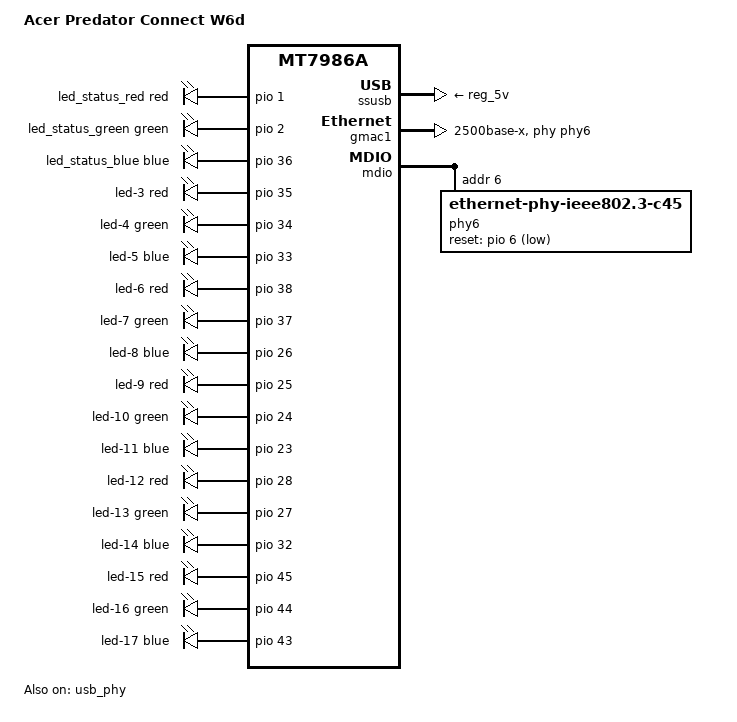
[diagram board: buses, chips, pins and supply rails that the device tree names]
// SPDX-License-Identifier: GPL-2.0-or-later OR MIT

/dts-v1/;
#include "mt7986a-acer-w6-common.dtsi"

/ {
	model = "Acer Predator Connect W6d";
	compatible = "acer,predator-w6d", "mediatek,mt7986a";

	aliases {
		serial0 = &uart0;
		led-boot = &led_status_blue;
		led-failsafe = &led_status_blue;
		led-running = &led_status_green;
		led-upgrade = &led_status_red;
	};

	leds {
		compatible = "gpio-leds";

		led_status_red: led-0 {
			color = <LED_COLOR_ID_RED>;
			function = LED_FUNCTION_STATUS;
			function-enumerator = <0>;
			gpios = <&pio 1 GPIO_ACTIVE_HIGH>;
		};

		led_status_green: led-1 {
			color = <LED_COLOR_ID_GREEN>;
			function = LED_FUNCTION_STATUS;
			function-enumerator = <0>;
			gpios = <&pio 2 GPIO_ACTIVE_HIGH>;
		};

		led_status_blue: led-2 {
			color = <LED_COLOR_ID_BLUE>;
			function = LED_FUNCTION_STATUS;
			function-enumerator = <0>;
			gpios = <&pio 36 GPIO_ACTIVE_HIGH>;
		};

		led-3 {
			color = <LED_COLOR_ID_RED>;
			function = LED_FUNCTION_STATUS;
			function-enumerator = <1>;
			gpios = <&pio 35 GPIO_ACTIVE_HIGH>;
		};

		led-4 {
			color = <LED_COLOR_ID_GREEN>;
			function = LED_FUNCTION_STATUS;
			function-enumerator = <1>;
			gpios = <&pio 34 GPIO_ACTIVE_HIGH>;
		};

		led-5 {
			color = <LED_COLOR_ID_BLUE>;
			function = LED_FUNCTION_STATUS;
			function-enumerator = <1>;
			gpios = <&pio 33 GPIO_ACTIVE_HIGH>;
		};

		led-6 {
			color = <LED_COLOR_ID_RED>;
			function = LED_FUNCTION_STATUS;
			function-enumerator = <2>;
			gpios = <&pio 38 GPIO_ACTIVE_HIGH>;
		};

		led-7 {
			color = <LED_COLOR_ID_GREEN>;
			function = LED_FUNCTION_STATUS;
			function-enumerator = <2>;
			gpios = <&pio 37 GPIO_ACTIVE_HIGH>;
		};

		led-8 {
			color = <LED_COLOR_ID_BLUE>;
			function = LED_FUNCTION_STATUS;
			function-enumerator = <2>;
			gpios = <&pio 26 GPIO_ACTIVE_HIGH>;
		};

		led-9 {
			color = <LED_COLOR_ID_RED>;
			function = LED_FUNCTION_STATUS;
			function-enumerator = <3>;
			gpios = <&pio 25 GPIO_ACTIVE_HIGH>;
		};

		led-10 {
			color = <LED_COLOR_ID_GREEN>;
			function = LED_FUNCTION_STATUS;
			function-enumerator = <3>;
			gpios = <&pio 24 GPIO_ACTIVE_HIGH>;
		};

		led-11 {
			color = <LED_COLOR_ID_BLUE>;
			function = LED_FUNCTION_STATUS;
			function-enumerator = <3>;
			gpios = <&pio 23 GPIO_ACTIVE_HIGH>;
		};

		led-12 {
			color = <LED_COLOR_ID_RED>;
			function = LED_FUNCTION_STATUS;
			function-enumerator = <4>;
			gpios = <&pio 28 GPIO_ACTIVE_HIGH>;
		};

		led-13 {
			color = <LED_COLOR_ID_GREEN>;
			function = LED_FUNCTION_STATUS;
			function-enumerator = <4>;
			gpios = <&pio 27 GPIO_ACTIVE_HIGH>;
		};

		led-14 {
			color = <LED_COLOR_ID_BLUE>;
			function = LED_FUNCTION_STATUS;
			function-enumerator = <4>;
			gpios = <&pio 32 GPIO_ACTIVE_HIGH>;
		};

		led-15 {
			color = <LED_COLOR_ID_RED>;
			function = LED_FUNCTION_STATUS;
			function-enumerator = <5>;
			gpios = <&pio 45 GPIO_ACTIVE_HIGH>;
		};

		led-16 {
			color = <LED_COLOR_ID_GREEN>;
			function = LED_FUNCTION_STATUS;
			function-enumerator = <5>;
			gpios = <&pio 44 GPIO_ACTIVE_HIGH>;
		};

		led-17 {
			color = <LED_COLOR_ID_BLUE>;
			function = LED_FUNCTION_STATUS;
			function-enumerator = <5>;
			gpios = <&pio 43 GPIO_ACTIVE_HIGH>;
		};
	};
};

&ssusb {
	vusb33-supply = <&reg_3p3v>;
	vbus-supply = <&reg_5v>;
	status = "okay";
};

&usb_phy {
	status = "okay";
};

&eth {
	gmac1: mac@1 {
		compatible = "mediatek,eth-mac";
		reg = <1>;
		phy-mode = "2500base-x";
		phy-handle = <&phy6>;
	};
};

&mdio {
	phy6: phy@6 {
		compatible = "ethernet-phy-ieee802.3-c45";
		reg = <6>;
		reset-gpios = <&pio 6 GPIO_ACTIVE_LOW>;
		reset-assert-us = <10000>;
		reset-deassert-us = <10000>;
		/* LED0: nc ; LED1: nc ; LED2: amber ; LED3: green */
		mxl,led-config = <0x0 0x0 0x370 0x380>;
	};
};

&swport0 {
	label = "game";
};
